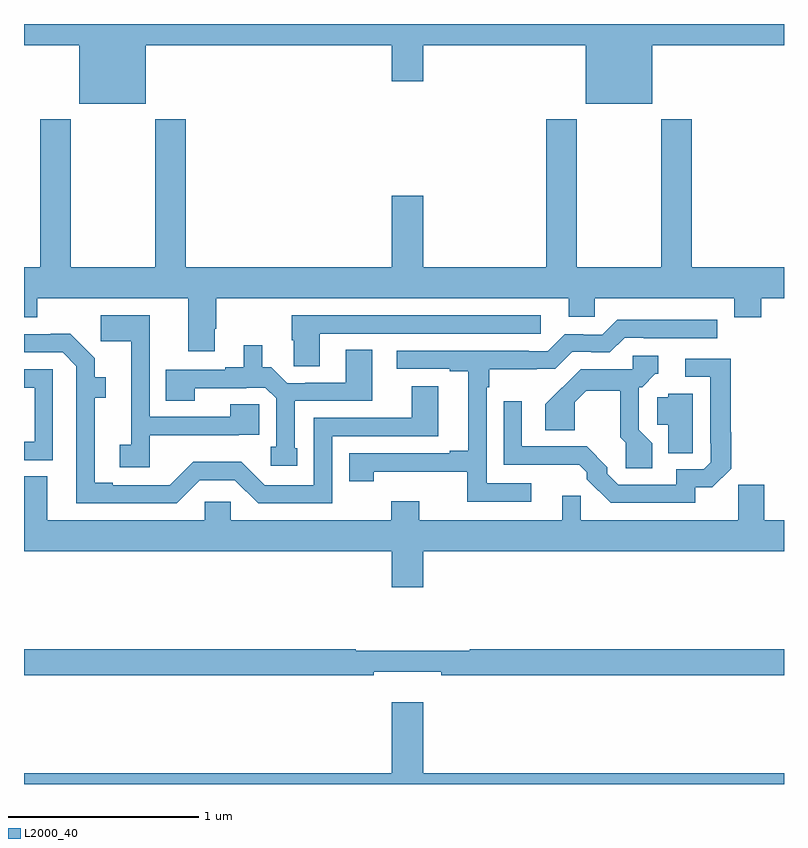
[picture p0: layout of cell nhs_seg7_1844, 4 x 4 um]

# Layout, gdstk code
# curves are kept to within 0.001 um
import gdstk
lib = gdstk.Library(unit=1e-6, precision=1e-09)
def P(c, l, *ps):  # polygons
    for p in ps: c.add(gdstk.Polygon(p, *l))
L2000_40 = (2000, 40)

nhs_seg7_1844 = lib.new_cell('nhs_seg7_1844')
P(nhs_seg7_1844, L2000_40, [(235,1061.888),(235.292,1061.888),(235.292,1061.579),(235.642,1061.579),(235.642,1061.888),(236.936,1061.888),(236.936,1061.7),(237.1,1061.7),(237.1,1061.888),(237.956,1061.888),(237.956,1061.579),(238.306,1061.579),(238.306,1061.888),(239,1061.888),(239,1062),(235,1062)],
  [(236.005,1060.396),(236.013,1060.396),(236.013,1060.556),(237.866,1060.556),(237.866,1060.458),(238.005,1060.458),(238.005,1060.556),(238.739,1060.556),(238.739,1060.457),(238.879,1060.457),(238.879,1060.556),(239,1060.556),(239,1060.72),(238.514,1060.72),(238.514,1061.5),(238.354,1061.5),(238.354,1060.72),(237.909,1060.72),(237.909,1061.5),(237.749,1061.5),(237.749,1060.72),(237.1,1060.72),(237.1,1061.095),(236.936,1061.095),(236.936,1060.72),(235.85,1060.72),(235.85,1061.5),(235.69,1061.5),(235.69,1060.72),(235.245,1060.72),(235.245,1061.5),(235.085,1061.5),(235.085,1060.72),(235,1060.72),(235,1060.457),(235.071,1060.457),(235.071,1060.556),(235.865,1060.556),(235.865,1060.278),(236.005,1060.278)],
  [(235.662,1059.836),(236.129,1059.836),(236.129,1059.837),(236.239,1059.837),(236.239,1059.998),(236.086,1059.998),(236.086,1059.933),(235.662,1059.933),(235.662,1060.468),(235.404,1060.468),(235.404,1060.329),(235.565,1060.329),(235.565,1059.786),(235.503,1059.786),(235.503,1059.666),(235.662,1059.666)],
  [(236.557,1060.371),(237.721,1060.371),(237.721,1060.467),(236.41,1060.467),(236.41,1060.335),(236.419,1060.335),(236.419,1060.198),(236.557,1060.198)],
  [(237.67,1059.582),(237.435,1059.582),(237.435,1060.088),(237.448,1060.088),(237.448,1060.182),(237.698,1060.182),(237.698,1060.185),(237.795,1060.185),(237.885,1060.275),(237.986,1060.275),(237.986,1060.272),(238.083,1060.272),(238.161,1060.35),(238.261,1060.35),(238.261,1060.347),(238.648,1060.347),(238.648,1060.443),(238.123,1060.444),(238.044,1060.365),(237.944,1060.365),(237.944,1060.368),(237.846,1060.368),(237.756,1060.278),(237.656,1060.278),(237.656,1060.281),(236.961,1060.281),(236.961,1060.185),(237.242,1060.185),(237.242,1060.173),(237.338,1060.173),(237.338,1059.754),(237.242,1059.754),(237.242,1059.741),(236.712,1059.741),(236.712,1059.594),(236.84,1059.594),(236.84,1059.644),(237.334,1059.644),(237.334,1059.486),(237.67,1059.486)],
  [(235.926,1059.6),(236.109,1059.6),(236.232,1059.477),(236.622,1059.477),(236.622,1059.831),(237.181,1059.831),(237.181,1060.093),(237.041,1060.093),(237.041,1059.927),(236.526,1059.927),(236.526,1059.573),(236.268,1059.573),(236.144,1059.697),(235.89,1059.697),(235.766,1059.573),(235.468,1059.573),(235.468,1059.586),(235.372,1059.586),(235.372,1060.032),(235.429,1060.032),(235.429,1060.142),(235.373,1060.142),(235.373,1060.24),(235.243,1060.37),(235.142,1060.37),(235.142,1060.368),(235,1060.368),(235,1060.272),(235.203,1060.272),(235.275,1060.2),(235.275,1059.477),(235.803,1059.477)],
  [(236.437,1059.768),(236.424,1059.768),(236.424,1060.017),(236.833,1060.017),(236.833,1060.286),(236.693,1060.286),(236.693,1060.113),(236.479,1060.113),(236.479,1060.11),(236.385,1060.11),(236.301,1060.194),(236.254,1060.194),(236.254,1060.309),(236.156,1060.309),(236.156,1060.194),(236.06,1060.194),(236.06,1060.179),(235.747,1060.179),(235.747,1060.018),(235.899,1060.018),(235.899,1060.083),(236.171,1060.083),(236.171,1060.086),(236.271,1060.086),(236.328,1060.029),(236.328,1059.774),(236.298,1059.774),(236.298,1059.675),(236.437,1059.675)],
  [(238.306,1059.794),(238.236,1059.864),(238.236,1060.089),(238.254,1060.089),(238.323,1060.158),(238.339,1060.158),(238.339,1060.254),(238.203,1060.254),(238.203,1060.182),(237.929,1060.182),(237.832,1060.085),(237.831,1060.086),(237.744,1059.998),(237.744,1059.862),(237.898,1059.862),(237.898,1060.01),(237.959,1060.071),(238.138,1060.071),(238.138,1059.826),(238.167,1059.797),(238.167,1059.663),(238.306,1059.663)],
  [(238.533,1059.561),(238.622,1059.561),(238.722,1059.66),(238.722,1059.851),(238.72,1059.851),(238.72,1060.239),(238.479,1060.239),(238.479,1060.143),(238.611,1060.143),(238.611,1059.793),(238.614,1059.793),(238.614,1059.693),(238.578,1059.657),(238.434,1059.657),(238.434,1059.576),(238.128,1059.576),(238.071,1059.633),(238.071,1059.667),(237.961,1059.777),(237.621,1059.777),(237.621,1060.015),(237.525,1060.015),(237.525,1059.681),(237.922,1059.68),(237.963,1059.64),(237.963,1059.605),(238.088,1059.48),(238.533,1059.48)],
  [(235.152,1060.182),(235,1060.182),(235,1060.086),(235.056,1060.086),(235.056,1059.801),(235,1059.801),(235,1059.705),(235.152,1059.705)],
  [(238.521,1060.054),(238.392,1060.054),(238.392,1060.035),(238.332,1060.035),(238.332,1059.89),(238.391,1059.89),(238.391,1059.742),(238.521,1059.742)],
  [(237.1,1059.224),(239,1059.224),(239,1059.388),(238.897,1059.388),(238.897,1059.576),(238.759,1059.576),(238.759,1059.388),(237.929,1059.388),(237.929,1059.518),(237.833,1059.518),(237.833,1059.388),(237.079,1059.388),(237.079,1059.487),(236.932,1059.487),(236.932,1059.388),(236.088,1059.388),(236.088,1059.486),(235.95,1059.486),(235.95,1059.388),(235.123,1059.388),(235.123,1059.62),(235,1059.62),(235,1059.224),(236.936,1059.224),(236.936,1059.036),(237.1,1059.036)],
  [(236.84,1058.591),(237.196,1058.591),(237.196,1058.572),(239,1058.572),(239,1058.708),(237.345,1058.708),(237.345,1058.701),(236.745,1058.701),(236.745,1058.708),(235,1058.708),(235,1058.572),(236.84,1058.572)],
  [(239,1058.056),(237.1,1058.056),(237.1,1058.431),(236.936,1058.431),(236.936,1058.056),(235,1058.056),(235,1058),(239,1058)])

lib.write_gds('nhs_seg7_1844.gds')
